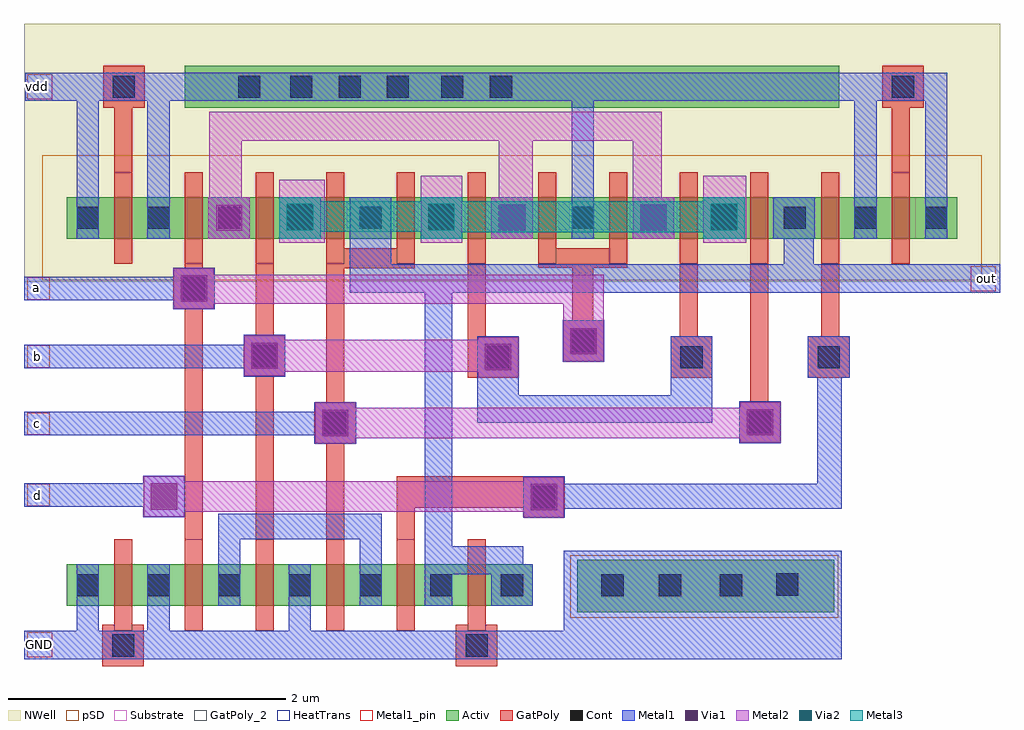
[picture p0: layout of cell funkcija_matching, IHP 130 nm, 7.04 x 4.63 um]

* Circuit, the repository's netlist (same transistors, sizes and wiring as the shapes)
** sch_path: /home/Nikola.Jankovic/projekat_copy/slucaj_2/schematic/funkcija_matching.sch
.subckt funkcija_matching vdd out d a c b ground
*.PININFO a:I b:I c:I d:I vdd:B ground:B out:O
M1 net1 a ground ground sg13_lv_nmos w=0.3u l=0.13u ng=1 m=1
M2 net1 b ground ground sg13_lv_nmos w=0.3u l=0.13u ng=1 m=1
M3 net1 c ground ground sg13_lv_nmos w=0.3u l=0.13u ng=1 m=1
M4 out d net1 ground sg13_lv_nmos w=0.3u l=0.13u ng=1 m=1
M5 net2 a vdd vdd sg13_lv_pmos w=0.9u l=0.13u ng=1 m=1
M6 net3 b net2 vdd sg13_lv_pmos w=0.9u l=0.13u ng=1 m=1
M7 out c net3 vdd sg13_lv_pmos w=0.9u l=0.13u ng=1 m=1
M8 out d vdd vdd sg13_lv_pmos w=0.3u l=0.13u ng=1 m=1
M9 ground ground ground ground sg13_lv_nmos w=0.3u l=0.13u ng=1 m=1
M10 out ground out ground sg13_lv_nmos w=0.3u l=0.13u ng=1 m=1
M11 vdd vdd vdd vdd sg13_lv_pmos w=0.3u l=0.13u ng=1 m=1
M12 vdd vdd vdd vdd sg13_lv_pmos w=0.3u l=0.13u ng=1 m=1
.ends
.end

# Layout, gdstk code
import gdstk
lib = gdstk.Library(unit=1e-6, precision=1e-09)
def R(c, l, rs):  # rectangles x0, y0, x1, y1
    for r in rs: c.add(gdstk.rectangle(r[:2], r[2:], *l))
def A(c, l, x, y, w, h, nx, ny, dx, dy):  # array of equal rectangles
    R(c, l, [(x+i*dx, y+j*dy, x+i*dx+w, y+j*dy+h) for i in range(nx) for j in range(ny)])
Activ = (1, 0)
GatPoly = (5, 0)
GatPoly_2 = (5, 2)
Cont = (6, 0)
Metal1 = (8, 0)
Metal1_pin = (8, 2)
Metal2 = (10, 0)
pSD = (14, 0)
Via1 = (19, 0)
Via2 = (29, 0)
Metal3 = (30, 0)
NWell = (31, 0)
Substrate = (40, 0)
HeatTrans = (51, 0)

nmos = lib.new_cell('nmos')
A(nmos, Activ, 0, 0, 0.3, 0.3, 7, 1, 0.51, 0)
R(nmos, Activ, [(0,0,3.36,0.3)])
A(nmos, GatPoly, 0.34, -0.18, 0.13, 0.66, 6, 1, 0.51, 0)
R(nmos, GatPoly_2, [(0.34,-0.18,0.47,0.48)])
A(nmos, Cont, 0.07, 0.07, 0.16, 0.16, 7, 1, 0.51, 0)
A(nmos, Metal1, 0.07, 0, 0.16, 0.3, 7, 1, 0.51, 0)
R(nmos, Metal1_pin, [(0.07,0,0.23,0.3), (0.58,0,0.74,0.3)])
A(nmos, HeatTrans, 0.34, -0.18, 0.13, 0.66, 6, 1, 0.51, 0)
nmos.add(gdstk.Label('nmos', (0.405,0.15), layer=63, texttype=0))
nmos.add(gdstk.Label('nmos', (0.405,0.15), layer=51, texttype=0))
nmos.add(gdstk.Label('nmos', (0.915,0.15), layer=51, texttype=0))
nmos.add(gdstk.Label('nmos', (1.425,0.15), layer=51, texttype=0))
nmos.add(gdstk.Label('nmos', (1.935,0.15), layer=51, texttype=0))
nmos.add(gdstk.Label('nmos', (2.445,0.15), layer=51, texttype=0))
nmos.add(gdstk.Label('nmos', (2.955,0.15), layer=51, texttype=0))

pmos_1 = lib.new_cell('pmos$1')
A(pmos_1, Activ, 0, 0, 0.3, 0.3, 13, 1, 0.51, 0)
R(pmos_1, Activ, [(0,0,6.42,0.3)])
A(pmos_1, GatPoly, 0.34, -0.18, 0.13, 0.66, 12, 1, 0.51, 0)
R(pmos_1, GatPoly, [(0.34,-0.18,0.47,0.48)])
A(pmos_1, Cont, 0.07, 0.07, 0.16, 0.16, 13, 1, 0.51, 0)
A(pmos_1, Metal1, 0.58, 0, 0.16, 0.3, 12, 1, 0.51, 0)
R(pmos_1, Metal1, [(0.07,0,0.23,0.3), (0.07,0,0.23,0.3), (0.58,0,0.74,0.3)])
R(pmos_1, pSD, [(-0.18,-0.3,6.6,0.6)])
R(pmos_1, NWell, [(-0.31,-0.31,6.73,0.61)])
R(pmos_1, Substrate, [(6.12,0,6.42,0.3)])
A(pmos_1, HeatTrans, 0.34, -0.18, 0.13, 0.66, 12, 1, 0.51, 0)
pmos_1.add(gdstk.Label('pmos', (0.405,0.15), layer=63, texttype=0))
pmos_1.add(gdstk.Label('pmos', (0.405,0.15), layer=51, texttype=0))
pmos_1.add(gdstk.Label('pmos', (0.915,0.15), layer=51, texttype=0))
pmos_1.add(gdstk.Label('pmos', (1.425,0.15), layer=51, texttype=0))
pmos_1.add(gdstk.Label('pmos', (1.935,0.15), layer=51, texttype=0))
pmos_1.add(gdstk.Label('pmos', (2.445,0.15), layer=51, texttype=0))
pmos_1.add(gdstk.Label('pmos', (2.955,0.15), layer=51, texttype=0))
pmos_1.add(gdstk.Label('pmos', (3.465,0.15), layer=51, texttype=0))
pmos_1.add(gdstk.Label('pmos', (3.975,0.15), layer=51, texttype=0))
pmos_1.add(gdstk.Label('pmos', (4.485,0.15), layer=51, texttype=0))
pmos_1.add(gdstk.Label('pmos', (4.995,0.15), layer=51, texttype=0))
pmos_1.add(gdstk.Label('pmos', (5.505,0.15), layer=51, texttype=0))
pmos_1.add(gdstk.Label('pmos', (6.015,0.15), layer=51, texttype=0))

funkcija_matching = lib.new_cell('funkcija_matching')
R(funkcija_matching, Activ, [(3.68,-1.235,5.535,-0.855), (0.85,2.405,5.57,2.705)])
A(funkcija_matching, GatPoly, 0.85, -0.71, 0.13, 1.99, 3, 1, 0.51, 0)
R(funkcija_matching, GatPoly, [(0.255,-1.625,0.555,-1.325), (2.805,-1.625,3.105,-1.325), (2.38,-0.71,2.51,-0.48), (3.29,-0.555,3.59,-0.255), (2.38,-0.48,3.29,-0.255), (1.785,-0.02,2.085,0.28), (4.85,-0.015,5.15,0.285), (4.93,0.285,5.06,1.28), (2.89,0.455,3.02,1.285), (2.96,0.455,3.26,0.755), (4.355,0.455,4.655,0.755), (5.345,0.455,5.645,0.755), (1.275,0.465,1.575,0.765), (3.575,0.57,3.875,0.87), (4.42,0.755,4.55,1.28), (5.44,0.755,5.57,1.28), (3.645,0.87,3.795,1.25), (0.765,0.95,1.065,1.25), (1.87,1.245,2.51,1.39), (3.4,1.25,4.04,1.39), (0.34,1.94,0.47,2.405), (5.95,1.94,6.08,2.405), (0.26,2.405,0.56,2.705), (5.88,2.405,6.18,2.705)])
R(funkcija_matching, Cont, [(0.325,-1.555,0.485,-1.395), (2.875,-1.555,3.035,-1.395), (3.855,-1.12,4.015,-0.96), (4.27,-1.12,4.43,-0.96), (4.71,-1.12,4.87,-0.96), (5.115,-1.115,5.275,-0.955), (3.36,-0.485,3.52,-0.325), (1.855,0.05,2.015,0.21), (4.92,0.055,5.08,0.215), (3.03,0.525,3.19,0.685), (4.425,0.525,4.585,0.685), (5.415,0.525,5.575,0.685), (1.345,0.535,1.505,0.695), (3.645,0.64,3.805,0.8), (0.835,1.02,0.995,1.18), (0.33,2.475,0.49,2.635), (1.235,2.475,1.395,2.635), (1.61,2.475,1.77,2.635), (1.96,2.475,2.12,2.635), (2.305,2.475,2.465,2.635), (2.7,2.475,2.86,2.635), (3.05,2.475,3.21,2.635), (5.95,2.475,6.11,2.635)])
A(funkcija_matching, Metal1, 1.53, 1.46, 0.3, 0.3, 3, 1, 0.51, 0)
R(funkcija_matching, Metal1, [(-0.31,-1.575,5.59,-1.37), (0.07,-1.37,0.23,-1.105), (0.58,-1.37,0.74,-1.19), (1.6,-1.37,1.76,-1.19), (3.585,-1.37,5.59,-1.295), (3.585,-1.295,5.59,-0.79), (2.58,-1.19,2.62,-0.89), (3.06,-1.19,3.36,-0.89), (2.78,-0.96,3.29,-0.76), (1.09,-0.89,1.25,-0.71), (2.11,-0.89,2.27,-0.71), (2.58,-0.89,2.78,1.275), (1.09,-0.71,2.27,-0.525), (3.29,-0.555,3.59,-0.255), (0.55,-0.55,0.85,-0.25), (3.59,-0.49,5.41,-0.31), (5.41,-0.49,5.59,0.455), (-0.31,-0.475,0.55,-0.305), (1.785,-0.02,2.085,0.28), (4.85,-0.015,5.15,0.285), (-0.31,0.04,1.785,0.21), (2.96,0.13,3.26,0.455), (3.26,0.13,4.355,0.33), (4.355,0.13,4.655,0.455), (2.96,0.455,3.26,0.755), (4.355,0.455,4.655,0.755), (5.345,0.455,5.645,0.755), (1.275,0.465,1.575,0.765), (-0.31,0.525,1.275,0.695), (3.575,0.57,3.875,0.87), (0.765,0.95,1.065,1.25), (-0.31,1.015,0.765,1.185), (2.04,1.07,5.385,1.275), (5.385,1.07,6.73,1.275), (2.04,1.275,2.34,1.46), (5.17,1.275,5.385,1.46), (1.02,1.46,1.32,1.76), (1.02,1.46,1.32,1.76), (1.53,1.46,1.83,1.76), (1.53,1.46,1.83,1.76), (1.53,1.46,1.83,1.76), (2.55,1.46,2.85,1.76), (2.55,1.46,2.85,1.76), (3.06,1.46,3.36,1.76), (3.06,1.46,3.36,1.76), (4.08,1.46,4.38,1.76), (4.08,1.46,4.38,1.76), (4.59,1.46,4.89,1.76), (4.59,1.46,4.89,1.76), (4.59,1.46,4.89,1.76), (5.095,1.46,5.395,1.76), (5.17,1.46,5.395,1.76), (3.64,1.69,3.8,2.455), (0.07,1.76,0.23,2.455), (0.58,1.76,0.74,2.455), (5.68,1.76,5.84,2.455), (6.19,1.76,6.35,2.455), (-0.3,2.455,6.35,2.655)])
R(funkcija_matching, Metal1_pin, [(-0.285,-1.56,-0.105,-1.38), (-0.285,-0.47,-0.125,-0.31), (-0.285,0.045,-0.125,0.205), (-0.285,0.53,-0.125,0.69), (-0.285,1.02,-0.125,1.18), (6.52,1.08,6.7,1.26), (-0.285,2.465,-0.105,2.645)])
R(funkcija_matching, Metal2, [(3.295,-0.55,3.585,-0.26), (0.555,-0.545,0.845,-0.255), (0.585,-0.51,3.295,-0.29), (1.79,-0.015,2.08,0.275), (4.855,-0.01,5.145,0.28), (2.08,0.02,4.855,0.24), (2.965,0.46,3.255,0.75), (1.28,0.47,1.57,0.76), (1.57,0.5,2.965,0.73), (3.58,0.575,3.87,0.865), (3.58,0.865,3.87,0.99), (0.77,0.955,1.06,1.245), (1.06,0.99,3.87,1.2), (1.53,1.43,1.86,1.885), (1.53,1.43,1.86,1.885), (2.55,1.43,2.85,1.915), (2.55,1.43,2.85,1.915), (4.59,1.43,4.9,1.915), (4.59,1.43,4.9,1.915), (1.02,1.46,1.32,1.76), (3.06,1.46,3.36,1.76), (4.08,1.46,4.38,1.76), (1.025,1.76,1.26,2.165), (3.115,1.76,3.36,2.165), (4.08,1.76,4.29,2.165), (1.025,2.165,4.29,2.375)])
R(funkcija_matching, pSD, [(3.63,-1.275,5.565,-0.825)])
R(funkcija_matching, Via1, [(3.345,-0.5,3.535,-0.31), (0.605,-0.495,0.795,-0.305), (1.84,0.035,2.03,0.225), (4.905,0.04,5.095,0.23), (3.015,0.51,3.205,0.7), (1.33,0.52,1.52,0.71), (3.63,0.625,3.82,0.815), (0.82,1.005,1.01,1.195), (1.075,1.515,1.265,1.705), (3.115,1.515,3.305,1.705), (4.135,1.515,4.325,1.705), (1.585,1.52,1.775,1.71), (1.585,1.52,1.775,1.71), (2.605,1.52,2.795,1.71), (2.605,1.52,2.795,1.71), (4.645,1.52,4.835,1.71), (4.645,1.52,4.835,1.71)])
R(funkcija_matching, Via2, [(1.585,1.52,1.775,1.71), (1.585,1.52,1.775,1.71), (2.605,1.52,2.795,1.71), (2.605,1.52,2.795,1.71), (4.645,1.52,4.835,1.71), (4.645,1.52,4.835,1.71)])
R(funkcija_matching, Metal3, [(1.53,1.46,1.83,1.76), (2.55,1.46,2.85,1.76), (4.59,1.46,4.89,1.76), (2.85,1.505,4.59,1.73), (1.83,1.51,2.55,1.73)])
R(funkcija_matching, NWell, [(-0.31,2.07,6.73,3.01)])
funkcija_matching.add(gdstk.Reference(nmos, (0,-1.19)))
funkcija_matching.add(gdstk.Reference(pmos_1, (0,1.46)))
funkcija_matching.add(gdstk.Label('GND', (-0.2,-1.47), layer=8, texttype=2))
funkcija_matching.add(gdstk.Label('vdd', (-0.215,2.555), layer=8, texttype=2))
funkcija_matching.add(gdstk.Label('a', (-0.22,1.105), layer=8, texttype=2))
funkcija_matching.add(gdstk.Label('b', (-0.215,0.61), layer=8, texttype=2))
funkcija_matching.add(gdstk.Label('c', (-0.21,0.125), layer=8, texttype=2))
funkcija_matching.add(gdstk.Label('d', (-0.21,-0.39), layer=8, texttype=2))
funkcija_matching.add(gdstk.Label('out', (6.635,1.17), layer=8, texttype=2))

lib.write_gds('funkcija_matching.gds')
